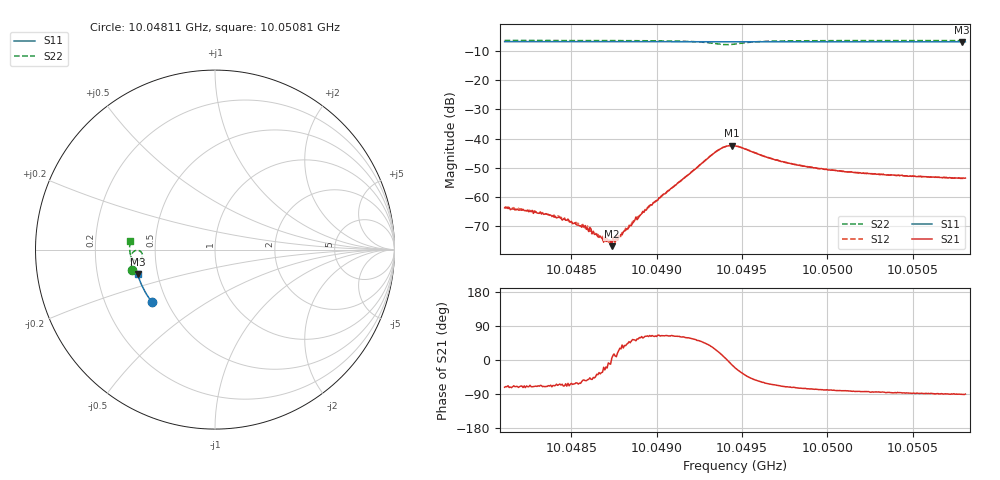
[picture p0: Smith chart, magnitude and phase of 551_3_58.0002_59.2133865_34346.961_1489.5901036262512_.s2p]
#  HZ  S  RI  R  50.00
! Rohde & Schwarz Vector Network Analyzer
! Rohde-Schwarz,ZNB20-2Port,1311601062101988,3.16
! Created: UTC 3/21/2024, 1:15:01 AM
! freq[Hz]  re:S11  im:S11  re:S21  im:S21  re:S12  im:S12  re:S22  im:S22
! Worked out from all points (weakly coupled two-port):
!   401 points, 10.04811 GHz to 10.05081 GHz, reference 50 ohm
!   highest |S21| = -42.42 dB at 10.04944 GHz (marker M1); lowest = -76.9 dB at 10.04874 GHz (marker M2)
!   lowest |S11| = -6.9 dB at 10.05079 GHz (marker M3), VSWR 2.65, Z = 19.2 - j6.6 ohm
!   |S11| at or under -10 dB: nowhere
!   |S22| runs from -7.9 to -6.4 dB; largest |S21 - S12| = 0.00057
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1.0048109e10  -0.3517 -0.2916  0.000202 -0.000617  0.000251 -0.00063  -0.4645 -0.1116
1.0048365e10  -0.3618 -0.2781  0.000191 -0.000463  0.000213 -0.000443  -0.4678 -0.0935
1.0048433e10  -0.3644 -0.2745  0.000197 -0.000395  0.000198 -0.000401  -0.4685 -0.0887
1.0048561e10  -0.3692 -0.2675  0.000166 -0.000253  0.000199 -0.000264  -0.4696 -0.079
1.0048595e10  -0.3704 -0.2656  0.000178 -0.000229  0.00021 -0.000239  -0.4699 -0.0764
1.0048629e10  -0.3718 -0.2639  0.000176 -0.000182  0.000173 -0.000193  -0.4701 -0.0738
1.0048696e10  -0.3743 -0.2601  0.000182 -8.95e-05  0.000192 -7.17e-05  -0.4704 -0.0684
1.0048716e10  -0.3749 -0.259  0.000179 -2.38e-05  0.000165 -2.31e-05  -0.4706 -0.0667
1.0048737e10  -0.3756 -0.2579  0.000143 1.12e-05  0.000186 8.39e-06  -0.4706 -0.0652
1.004877e10  -0.3767 -0.2561  0.000173 5.74e-05  0.000168 6.31e-05  -0.4707 -0.0623
1.0048871e10  -0.3802 -0.2504  0.000239 0.000317  0.000228 0.000325  -0.4707 -0.0532
1.0048952e10  -0.3831 -0.2459  0.000324 0.000608  0.000263 0.000602  -0.47 -0.0456
1.0049013e10  -0.3852 -0.2424  0.000402 0.000875  0.000382 0.000891  -0.4689 -0.0393
1.0049344e10  -0.3953 -0.2231  0.00518 0.00273  0.00501 0.00306  -0.4218 -0.00622
1.0049391e10  -0.3966 -0.2204  0.00698 0.00119  0.00691 0.00163  -0.4065 -0.0208
1.0049438e10  -0.3978 -0.218  0.00741 -0.00156  0.00755 -0.00103  -0.4061 -0.0443
1.0049459e10  -0.3984 -0.217  0.00701 -0.00262  0.00722 -0.00209  -0.4112 -0.0528
1.0049688e10  -0.4056 -0.2038  0.0018 -0.00399  0.00206 -0.0039  -0.4641 -0.0443
1.0049911e10  -0.4117 -0.1903  0.000742 -0.00311  0.000959 -0.00309  -0.4732 -0.0197
1.0050363e10  -0.4226 -0.1629  0.000191 -0.00235  0.000309 -0.00235  -0.4754 0.0177
1.0050788e10  -0.4311 -0.1364  -2.49e-05 -0.00209  8.79e-05 -0.00208  -0.4734 0.048
1.0050808e10  -0.4317 -0.1352  5.48e-06 -0.0021  8.11e-05 -0.0021  -0.4734 0.0494
